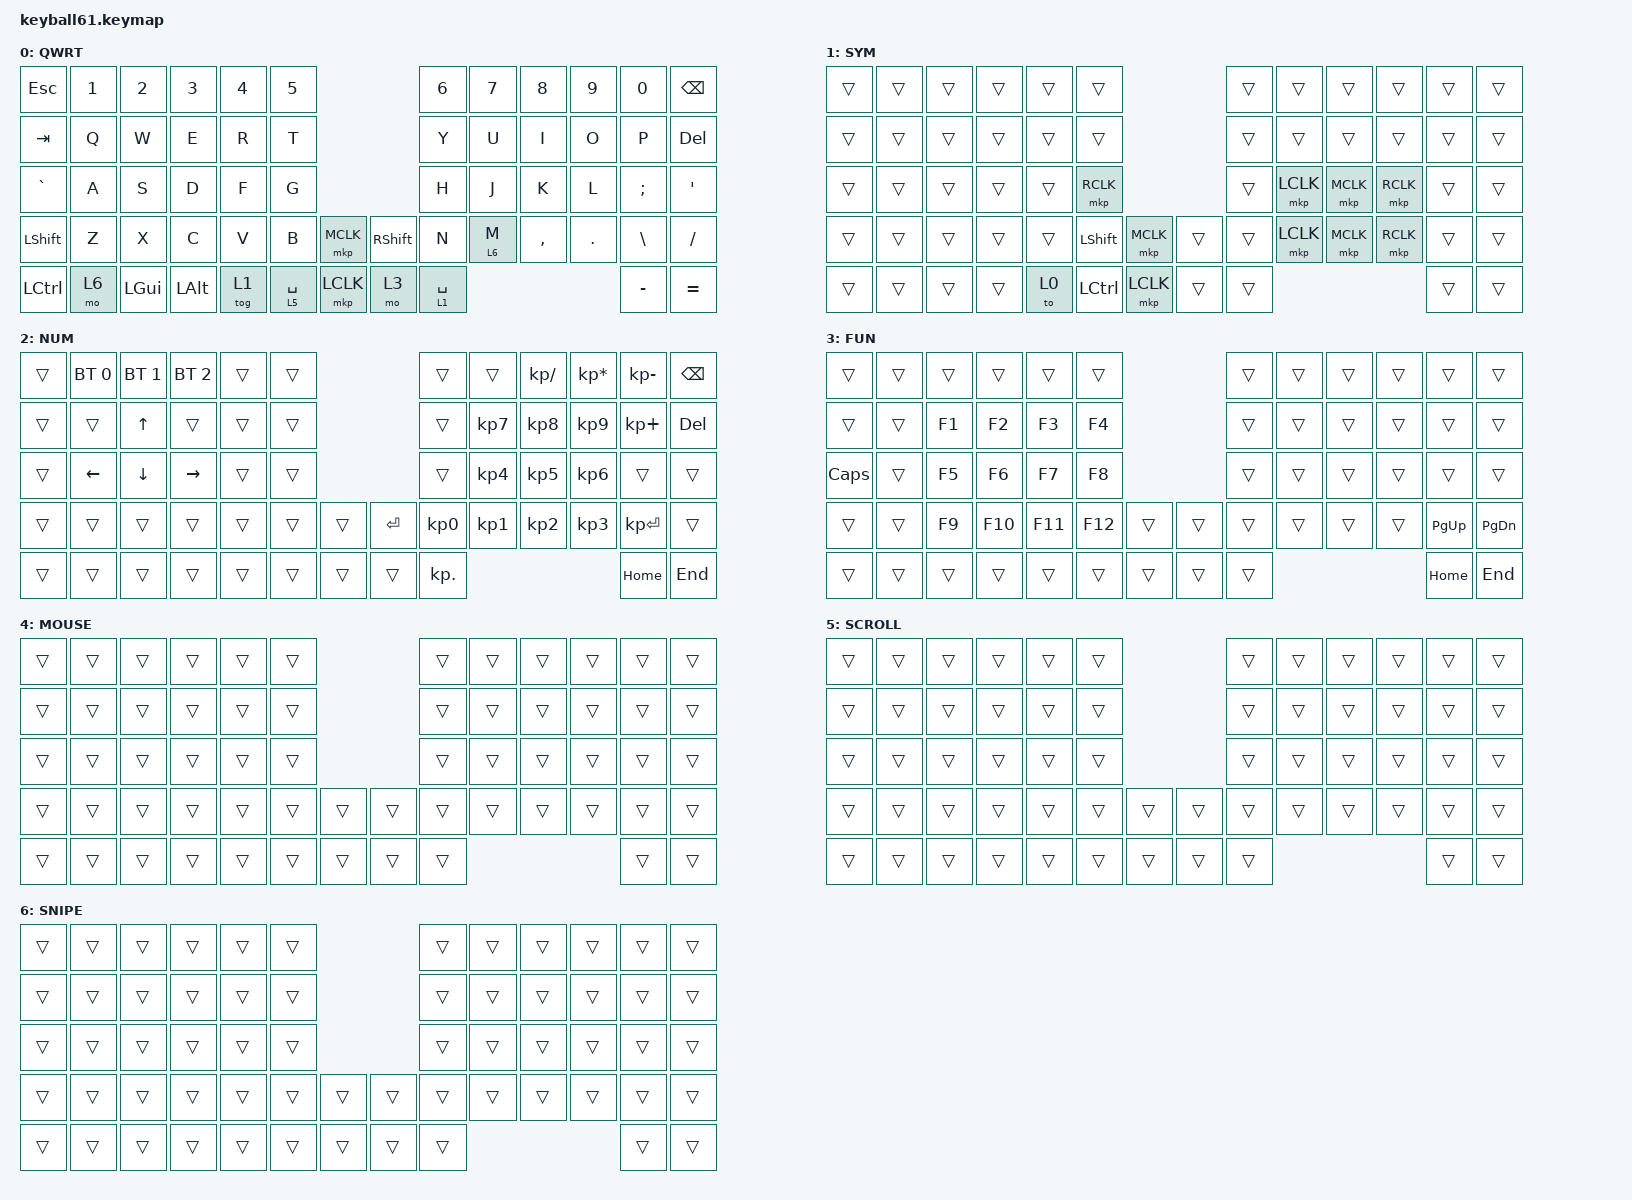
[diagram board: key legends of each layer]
#define DEFAULT 0
#define SYM     1
#define MOUSE   3
#define NUM     4
#define FUN     2
#define SCROLL  5
#define SNIPE   6

#include <behaviors/mouse_keys.dtsi>
#include <dt-bindings/zmk/mouse.h>
#include <behaviors.dtsi>
#include <dt-bindings/zmk/bt.h>
#include <dt-bindings/zmk/keys.h>
#include <dt-bindings/zmk/pointing.h>

&lt {
    tapping-term-ms = <240>;
    flavor = "balanced";
    quick-tap-ms = <150>;
};

&mt {
    tapping-term-ms = <200>;
    flavor = "tap-preferred";
    quick-tap-ms = <150>;
};

/ {
    keymap {
        compatible = "zmk,keymap";

        default_layer {
            label = "QWRT";
            bindings = <
&kp ESC         &kp N1  &kp N2        &kp N3        &kp N4  &kp N5                                   &kp N6       &kp N7   &kp N8     &kp N9   &kp N0         &kp BSPC
&kp TAB         &kp Q   &kp W         &kp E         &kp R   &kp T                                    &kp Y        &kp U    &kp I      &kp O    &kp P          &kp DEL
&kp GRAVE       &kp A   &kp S         &kp D         &kp F   &kp G                                    &kp H        &kp J    &kp K      &kp L    &kp SEMI       &kp SQT
&kp LEFT_SHIFT  &kp Z   &kp X         &kp C         &kp V   &kp B        &mkp MCLK  &kp RIGHT_SHIFT  &kp N        &lt 6 M  &kp COMMA  &kp DOT  &kp BACKSLASH  &kp SLASH
&kp LCTRL       &mo 6   &kp LEFT_GUI  &kp LEFT_ALT  &tog 1  &lt 5 SPACE  &mkp LCLK  &mo 3            &lt 1 SPACE                               &kp MINUS      &kp EQUAL
            >;
        };

        symbol_layer {
            label = "SYM";
            bindings = <
&trans  &trans  &trans  &trans  &trans  &trans                             &trans  &trans     &trans     &trans     &trans  &trans
&trans  &trans  &trans  &trans  &trans  &trans                             &trans  &trans     &trans     &trans     &trans  &trans
&trans  &trans  &trans  &trans  &trans  &mkp RCLK                          &trans  &mkp LCLK  &mkp MCLK  &mkp RCLK  &trans  &trans
&trans  &trans  &trans  &trans  &trans  &kp LEFT_SHIFT  &mkp MCLK  &trans  &trans  &mkp LCLK  &mkp MCLK  &mkp RCLK  &trans  &trans
&trans  &trans  &trans  &trans  &to 0   &kp LCTRL       &mkp LCLK  &trans  &trans                                   &trans  &trans
            >;
        };

        number_layer {
            label = "NUM";
            bindings = <
&trans  &bt BT_SEL 0    &bt BT_SEL 1    &bt BT_SEL 2     &trans  &trans                     &trans           &trans           &kp KP_DIVIDE    &kp KP_MULTIPLY  &kp KP_SUBTRACT  &kp BACKSPACE
&trans  &trans          &kp UP_ARROW    &trans           &trans  &trans                     &trans           &kp KP_NUMBER_7  &kp KP_NUMBER_8  &kp KP_NUMBER_9  &kp KP_PLUS      &kp DELETE
&trans  &kp LEFT_ARROW  &kp DOWN_ARROW  &kp RIGHT_ARROW  &trans  &trans                     &trans           &kp KP_NUMBER_4  &kp KP_NUMBER_5  &kp KP_NUMBER_6  &trans           &trans
&trans  &trans          &trans          &trans           &trans  &trans  &trans  &kp ENTER  &kp KP_NUMBER_0  &kp KP_NUMBER_1  &kp KP_NUMBER_2  &kp KP_NUMBER_3  &kp KP_ENTER     &trans
&trans  &trans          &trans          &trans           &trans  &trans  &trans  &trans     &kp KP_DOT                                                          &kp HOME         &kp END
            >;
        };
        function_layer {
            label = "FUN";
            bindings = <
&trans    &trans  &trans  &trans   &trans   &trans                   &trans  &trans  &trans  &trans  &trans       &trans
&trans    &trans  &kp F1  &kp F2   &kp F3   &kp F4                   &trans  &trans  &trans  &trans  &trans       &trans
&kp CAPS  &trans  &kp F5  &kp F6   &kp F7   &kp F8                   &trans  &trans  &trans  &trans  &trans       &trans
&trans    &trans  &kp F9  &kp F10  &kp F11  &kp F12  &trans  &trans  &trans  &trans  &trans  &trans  &kp PAGE_UP  &kp PAGE_DOWN
&trans    &trans  &trans  &trans   &trans   &trans   &trans  &trans  &trans                          &kp HOME     &kp END
            >;
        };
        mouse_layer {
            label = "MOUSE";
            bindings = <
&trans  &trans  &trans  &trans  &trans  &trans                  &trans  &trans  &trans  &trans  &trans  &trans
&trans  &trans  &trans  &trans  &trans  &trans                  &trans  &trans  &trans  &trans  &trans  &trans
&trans  &trans  &trans  &trans  &trans  &trans                  &trans  &trans  &trans  &trans  &trans  &trans
&trans  &trans  &trans  &trans  &trans  &trans  &trans  &trans  &trans  &trans  &trans  &trans  &trans  &trans
&trans  &trans  &trans  &trans  &trans  &trans  &trans  &trans  &trans                          &trans  &trans
            >;
        };


        scroll_layer {
            label = "SCROLL";
            bindings = <
&trans  &trans  &trans  &trans  &trans  &trans                  &trans  &trans  &trans  &trans  &trans  &trans
&trans  &trans  &trans  &trans  &trans  &trans                  &trans  &trans  &trans  &trans  &trans  &trans
&trans  &trans  &trans  &trans  &trans  &trans                  &trans  &trans  &trans  &trans  &trans  &trans
&trans  &trans  &trans  &trans  &trans  &trans  &trans  &trans  &trans  &trans  &trans  &trans  &trans  &trans
&trans  &trans  &trans  &trans  &trans  &trans  &trans  &trans  &trans                          &trans  &trans
            >;
        };

        snipe_layer {
            label = "SNIPE";
            bindings = <
&trans  &trans  &trans  &trans  &trans  &trans                  &trans  &trans  &trans  &trans  &trans  &trans
&trans  &trans  &trans  &trans  &trans  &trans                  &trans  &trans  &trans  &trans  &trans  &trans
&trans  &trans  &trans  &trans  &trans  &trans                  &trans  &trans  &trans  &trans  &trans  &trans
&trans  &trans  &trans  &trans  &trans  &trans  &trans  &trans  &trans  &trans  &trans  &trans  &trans  &trans
&trans  &trans  &trans  &trans  &trans  &trans  &trans  &trans  &trans                          &trans  &trans
            >;
        };
    };
};
